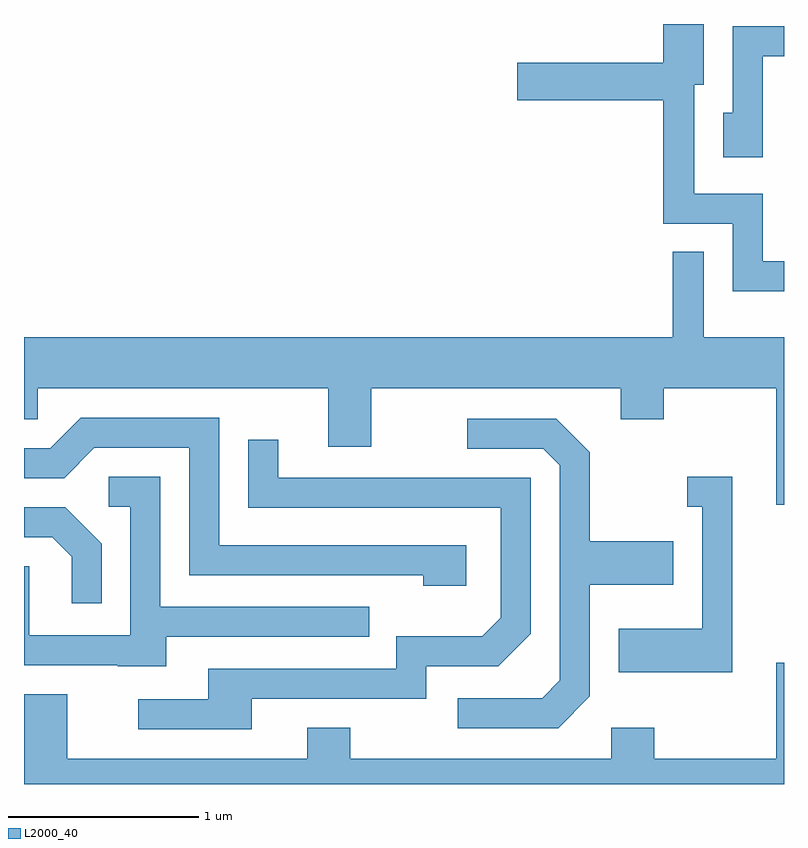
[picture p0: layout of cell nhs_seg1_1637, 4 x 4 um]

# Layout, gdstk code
import gdstk
lib = gdstk.Library(unit=1e-6, precision=1e-09)
def P(c, l, *ps):  # polygons
    for p in ps: c.add(gdstk.Polygon(p, *l))
L2000_40 = (2000, 40)

nhs_seg1_1637 = lib.new_cell('nhs_seg1_1637')
P(nhs_seg1_1637, L2000_40, [(239.611,902.464),(239.499,902.464),(239.499,902.819),(239.139,902.819),(239.139,903.391),(239.189,903.391),(239.189,903.712),(238.976,903.712),(238.976,903.509),(238.206,903.509),(238.206,903.311),(238.976,903.311),(238.976,902.661),(239.341,902.661),(239.341,902.306),(239.611,902.306)],
  [(239.499,903.541),(239.611,903.541),(239.611,903.699),(239.341,903.699),(239.341,903.244),(239.291,903.244),(239.291,903.011),(239.499,903.011)],
  [(235.611,901.631),(235.684,901.631),(235.684,901.796),(237.211,901.796),(237.211,901.486),(237.439,901.486),(237.439,901.796),(238.751,901.796),(238.751,901.631),(238.979,901.631),(238.979,901.796),(239.571,901.796),(239.571,901.181),(239.611,901.181),(239.611,902.064),(239.189,902.064),(239.189,902.513),(239.026,902.513),(239.026,902.064),(235.611,902.064)],
  [(237.939,900.969),(236.639,900.969),(236.639,901.639),(235.909,901.639),(235.749,901.479),(235.611,901.479),(235.611,901.321),(235.822,901.321),(235.982,901.481),(236.481,901.481),(236.481,900.811),(237.711,900.811),(237.711,900.756),(237.939,900.756)],
  [(238.589,900.174),(238.589,900.761),(239.029,900.761),(239.029,900.989),(238.589,900.989),(238.589,901.457),(238.412,901.634),(237.943,901.634),(237.943,901.476),(238.344,901.476),(238.431,901.389),(238.431,900.257),(238.339,900.164),(237.893,900.164),(237.893,900.006),(238.422,900.006)],
  [(236.809,900.161),(237.729,900.161),(237.729,900.331),(238.107,900.331),(238.279,900.504),(238.279,901.324),(236.949,901.324),(236.949,901.523),(236.791,901.523),(236.791,901.166),(238.121,901.166),(238.121,900.587),(238.024,900.489),(237.571,900.489),(237.571,900.319),(236.581,900.319),(236.581,900.159),(236.213,900.159),(236.213,900.001),(236.809,900.001)],
  [(236.359,900.486),(237.428,900.486),(237.428,900.644),(236.329,900.644),(236.329,901.329),(236.058,901.329),(236.058,901.171),(236.171,901.171),(236.171,900.494),(235.639,900.494),(235.639,900.859),(235.611,900.859),(235.611,900.336),(236.105,900.336),(236.105,900.331),(236.359,900.331)],
  [(239.339,901.329),(239.103,901.329),(239.103,901.171),(239.181,901.171),(239.181,900.529),(238.741,900.529),(238.741,900.301),(239.339,900.301)],
  [(236.019,900.977),(235.827,901.169),(235.611,901.169),(235.611,901.011),(235.759,901.011),(235.861,900.909),(235.861,900.663),(236.019,900.663)],
  [(239.611,900.349),(239.571,900.349),(239.571,899.844),(238.929,899.844),(238.929,900.009),(238.701,900.009),(238.701,899.844),(237.329,899.844),(237.329,900.009),(237.101,900.009),(237.101,899.844),(235.839,899.844),(235.839,900.184),(235.611,900.184),(235.611,899.712),(239.611,899.712)])

lib.write_gds('nhs_seg1_1637.gds')
